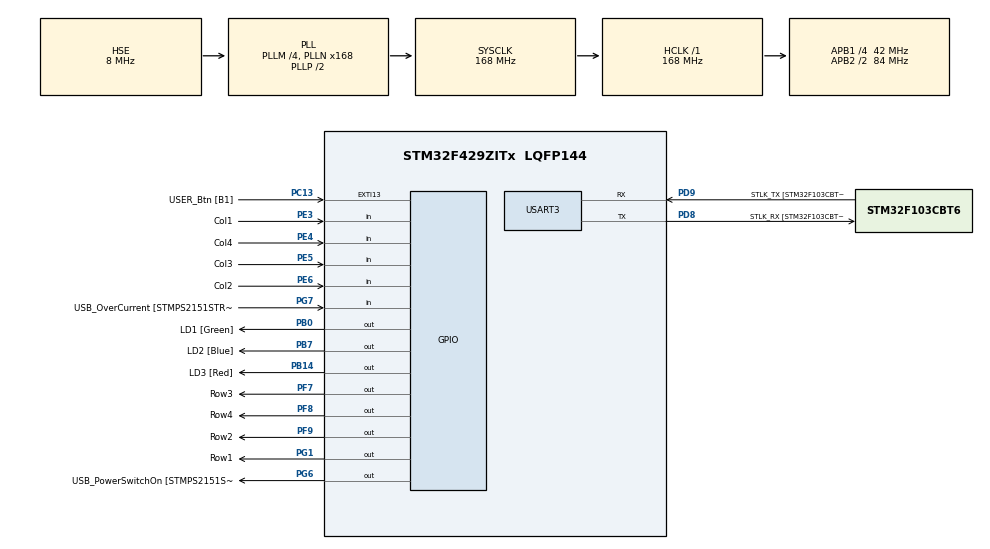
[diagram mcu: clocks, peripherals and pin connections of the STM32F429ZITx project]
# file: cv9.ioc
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Mcu.Family=STM32F4
Mcu.Name=STM32F429ZITx
Mcu.Package=LQFP144
NVIC.PriorityGroup=NVIC_PRIORITYGROUP_4
NVIC.TIM3_IRQn=true\:0\:0\:false\:false\:true\:true\:true\:true
PA1.GPIO_Label=RMII_REF_CLK [LAN8742A-CZ-TR_REFCLK0]
PA1.Signal=ETH_REF_CLK
PA10.GPIO_Label=USB_ID
PA10.Signal=USB_OTG_FS_ID
PA11.GPIO_Label=USB_DM
PA11.Signal=USB_OTG_FS_DM
PA12.GPIO_Label=USB_DP
PA12.Signal=USB_OTG_FS_DP
PA13.GPIO_Label=TMS
PA13.Mode=Serial_Wire
PA13.Signal=SYS_JTMS-SWDIO
PA14.GPIO_Label=TCK
PA14.Mode=Serial_Wire
PA14.Signal=SYS_JTCK-SWCLK
PA2.GPIO_Label=RMII_MDIO [LAN8742A-CZ-TR_MDIO]
PA2.Signal=ETH_MDIO
PA7.GPIO_Label=RMII_CRS_DV [LAN8742A-CZ-TR_CRS_DV]
PA7.Signal=ETH_CRS_DV
PA8.GPIO_Label=USB_SOF [TP1]
PA8.Signal=USB_OTG_FS_SOF
PA9.GPIO_Label=USB_VBUS
PA9.Signal=USB_OTG_FS_VBUS
PB0.GPIO_Label=LD1 [Green]
PB0.Signal=GPIO_Output
PB13.GPIO_Label=RMII_TXD1 [LAN8742A-CZ-TR_TXD1]
PB13.Signal=ETH_TXD1
PB14.GPIO_Label=LD3 [Red]
PB14.Signal=GPIO_Output
PB7.GPIO_Label=LD2 [Blue]
PB7.Signal=GPIO_Output
PC1.GPIO_Label=RMII_MDC [LAN8742A-CZ-TR_MDC]
PC1.Signal=ETH_MDC
PC13.GPIO_Label=USER_Btn [B1]
PC13.Signal=GPXTI13
PC14/OSC32_IN.Mode=LSE-External-Oscillator
PC14/OSC32_IN.Signal=RCC_OSC32_IN
PC15/OSC32_OUT.Mode=LSE-External-Oscillator
PC15/OSC32_OUT.Signal=RCC_OSC32_OUT
PC4.GPIO_Label=RMII_RXD0 [LAN8742A-CZ-TR_RXD0]
PC4.Signal=ETH_RXD0
PC5.GPIO_Label=RMII_RXD1 [LAN8742A-CZ-TR_RXD1]
PC5.Signal=ETH_RXD1
PD8.GPIO_Label=STLK_RX [STM32F103CBT6_PA3]
PD8.Mode=Asynchronous
PD8.Signal=USART3_TX
PD9.GPIO_Label=STLK_TX [STM32F103CBT6_PA2]
PD9.Mode=Asynchronous
PD9.Signal=USART3_RX
PE3.GPIO_Label=Col1
PE3.GPIO_PuPd=GPIO_PULLUP
PE3.Signal=GPIO_Input
PE4.GPIO_Label=Col4
PE4.GPIO_PuPd=GPIO_PULLUP
PE4.Signal=GPIO_Input
PE5.GPIO_Label=Col3
PE5.GPIO_PuPd=GPIO_PULLUP
PE5.Signal=GPIO_Input
PE6.GPIO_Label=Col2
PE6.GPIO_PuPd=GPIO_PULLUP
PE6.Signal=GPIO_Input
PF7.GPIO_Label=Row3
PF7.GPIO_ModeDefaultOutputPP=GPIO_MODE_OUTPUT_OD
PF7.GPIO_PuPd=GPIO_NOPULL
PF7.Signal=GPIO_Output
PF8.GPIO_Label=Row4
PF8.GPIO_ModeDefaultOutputPP=GPIO_MODE_OUTPUT_OD
PF8.GPIO_PuPd=GPIO_NOPULL
PF8.Signal=GPIO_Output
PF9.GPIO_Label=Row2
PF9.GPIO_ModeDefaultOutputPP=GPIO_MODE_OUTPUT_OD
PF9.GPIO_PuPd=GPIO_NOPULL
PF9.Signal=GPIO_Output
PG1.GPIO_Label=Row1
PG1.GPIO_ModeDefaultOutputPP=GPIO_MODE_OUTPUT_OD
PG1.GPIO_PuPd=GPIO_NOPULL
PG1.Signal=GPIO_Output
PG11.GPIO_Label=RMII_TX_EN [LAN8742A-CZ-TR_TXEN]
PG11.Signal=ETH_TX_EN
PG13.GPIO_Label=RMII_TXD0 [LAN8742A-CZ-TR_TXD0]
PG13.Signal=ETH_TXD0
PG6.GPIO_Label=USB_PowerSwitchOn [STMPS2151STR_EN]
PG6.Signal=GPIO_Output
PG7.GPIO_Label=USB_OverCurrent [STMPS2151STR_FAULT]
PG7.Signal=GPIO_Input
PH0/OSC_IN.GPIO_Label=MCO [STM32F103CBT6_PA8]
PH0/OSC_IN.Mode=HSE-External-Clock-Source
PH0/OSC_IN.Signal=RCC_OSC_IN
PH1/OSC_OUT.Mode=HSE-External-Clock-Source
PH1/OSC_OUT.Signal=RCC_OSC_OUT
ProjectManager.HeapSize=0x200
ProjectManager.StackSize=0x400
ProjectManager.TargetToolchain=STM32CubeIDE
RCC.48MHZClocksFreq_Value=48000000
RCC.AHBFreq_Value=168000000
RCC.APB1CLKDivider=RCC_HCLK_DIV4
RCC.APB1Freq_Value=42000000
RCC.APB1TimFreq_Value=84000000
RCC.APB2CLKDivider=RCC_HCLK_DIV2
RCC.APB2Freq_Value=84000000
RCC.APB2TimCLKDivider=2
RCC.APB2TimFreq_Value=168000000
RCC.CortexFreq_Value=168000000
RCC.HCLKFreq_Value=168000000
RCC.HSE_VALUE=8000000
RCC.HSI_VALUE=16000000
RCC.PLLM=4
RCC.PLLMUL=RCC_PLL_MUL9
RCC.PLLN=168
RCC.PLLQ=7
RCC.PLLSourceVirtual=RCC_PLLSOURCE_HSE
RCC.PRESCALERUSB=RCC_USBCLKSOURCE_PLL_DIV1_5
RCC.SYSCLKFreq_VALUE=168000000
RCC.SYSCLKSource=RCC_SYSCLKSOURCE_PLLCLK
RCC.SYSCLKSourceVirtual=RCC_SYSCLKSOURCE_PLLCLK
RCC.USBFreq_Value=48000000
RCC.VCOOutputFreq_Value=336000000
TIM3.AutoReloadPreload=TIM_AUTORELOAD_PRELOAD_ENABLE
TIM3.Period=99
TIM3.Prescaler=8399
USART3.VirtualMode=VM_ASYNC
VP_TIM3_VS_ClockSourceINT.Mode=Internal
board=NUCLEO-F429ZI

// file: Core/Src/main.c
/* USER CODE BEGIN Header */
/**
 ******************************************************************************
 * @file           : main.c
 * @brief          : Main program body
 ******************************************************************************
 * @attention
 *
 * Copyright (c) 2023 STMicroelectronics.
 * All rights reserved.
 *
 * This software is licensed under terms that can be found in the LICENSE file
 * in the root directory of this software component.
 * If no LICENSE file comes with this software, it is provided AS-IS.
 *
 ******************************************************************************
 */
/* USER CODE END Header */
#include "main.h"

/* USER CODE BEGIN Includes */
#include <stdio.h>
/* USER CODE END Includes */

TIM_HandleTypeDef htim3;

UART_HandleTypeDef huart3;

/* USER CODE BEGIN PV */
static volatile int8_t key;
static  int8_t z = 0;
/* USER CODE END PV */

void SystemClock_Config(void);
static void MX_GPIO_Init(void);
static void MX_USART3_UART_Init(void);
static void MX_TIM3_Init(void);

/* Private user code ---------------
 * ------------------------------------------*/
/* USER CODE BEGIN 0 */
int __io_putchar(int ch)
{
	ITM_SendChar(ch);
	return 0;
}
/* USER CODE END 0 */

int main(void)
{

	/* MCU Configuration--------------------------------------------------------*/

	/* Reset of all peripherals, Initializes the Flash interface and the Systick. */
	HAL_Init();

	/* Configure the system clock */
	SystemClock_Config();

	/* Initialize all configured peripherals */
	MX_GPIO_Init();
	MX_USART3_UART_Init();
	MX_TIM3_Init();
	/* USER CODE BEGIN 2 */

	HAL_TIM_Base_Start_IT(&htim3);
	/* USER CODE END 2 */

	/* Infinite loop */
	/* USER CODE BEGIN WHILE */
	while (1)
	{

		static const uint8_t code[] = {7,9,3,2,12};
		if(key != -1){
			if(key == code[z]){
				printf("%d\nTrue:", z);
				HAL_Delay(100);
				z = z+1;
			} else {
				z=0;
			}
			HAL_Delay(500);
			key = -1;

		}
		if(z > 4){
			HAL_GPIO_TogglePin(LD1_GPIO_Port, LD1_Pin);
			z = 0;
		}

	}

}

/*if(key != -1){
 *
		  printf("%d\nStisknuto:", key);
		  HAL_Delay(500);
		  key = -1;
	  }*/

/* USER CODE END WHILE */

void SystemClock_Config(void)
{
	RCC_OscInitTypeDef RCC_OscInitStruct = {0};
	RCC_ClkInitTypeDef RCC_ClkInitStruct = {0};

	/** Configure the main internal regulator output voltage
	 */
	__HAL_RCC_PWR_CLK_ENABLE();
	__HAL_PWR_VOLTAGESCALING_CONFIG(PWR_REGULATOR_VOLTAGE_SCALE1);

	/** Initializes the RCC Oscillators according to the specified parameters
	 * in the RCC_OscInitTypeDef structure.
	 */
	RCC_OscInitStruct.OscillatorType = RCC_OSCILLATORTYPE_HSE;
	RCC_OscInitStruct.HSEState = RCC_HSE_BYPASS;
	RCC_OscInitStruct.PLL.PLLState = RCC_PLL_ON;
	RCC_OscInitStruct.PLL.PLLSource = RCC_PLLSOURCE_HSE;
	RCC_OscInitStruct.PLL.PLLM = 4;
	RCC_OscInitStruct.PLL.PLLN = 168;
	RCC_OscInitStruct.PLL.PLLP = RCC_PLLP_DIV2;
	RCC_OscInitStruct.PLL.PLLQ = 7;
	if (HAL_RCC_OscConfig(&RCC_OscInitStruct) != HAL_OK)
	{
		Error_Handler();
	}

	/** Initializes the CPU, AHB and APB buses clocks
	 */
	RCC_ClkInitStruct.ClockType = RCC_CLOCKTYPE_HCLK|RCC_CLOCKTYPE_SYSCLK
			|RCC_CLOCKTYPE_PCLK1|RCC_CLOCKTYPE_PCLK2;
	RCC_ClkInitStruct.SYSCLKSource = RCC_SYSCLKSOURCE_PLLCLK;
	RCC_ClkInitStruct.AHBCLKDivider = RCC_SYSCLK_DIV1;
	RCC_ClkInitStruct.APB1CLKDivider = RCC_HCLK_DIV4;
	RCC_ClkInitStruct.APB2CLKDivider = RCC_HCLK_DIV2;

	if (HAL_RCC_ClockConfig(&RCC_ClkInitStruct, FLASH_LATENCY_5) != HAL_OK)
	{
		Error_Handler();
	}
}

static void MX_TIM3_Init(void)
{

	TIM_ClockConfigTypeDef sClockSourceConfig = {0};
	TIM_MasterConfigTypeDef sMasterConfig = {0};

	htim3.Instance = TIM3;
	htim3.Init.Prescaler = 8399;
	htim3.Init.CounterMode = TIM_COUNTERMODE_UP;
	htim3.Init.Period = 99;
	htim3.Init.ClockDivision = TIM_CLOCKDIVISION_DIV1;
	htim3.Init.AutoReloadPreload = TIM_AUTORELOAD_PRELOAD_ENABLE;
	if (HAL_TIM_Base_Init(&htim3) != HAL_OK)
	{
		Error_Handler();
	}
	sClockSourceConfig.ClockSource = TIM_CLOCKSOURCE_INTERNAL;
	if (HAL_TIM_ConfigClockSource(&htim3, &sClockSourceConfig) != HAL_OK)
	{
		Error_Handler();
	}
	sMasterConfig.MasterOutputTrigger = TIM_TRGO_RESET;
	sMasterConfig.MasterSlaveMode = TIM_MASTERSLAVEMODE_DISABLE;
	if (HAL_TIMEx_MasterConfigSynchronization(&htim3, &sMasterConfig) != HAL_OK)
	{
		Error_Handler();
	}

}

static void MX_USART3_UART_Init(void)
{

	huart3.Instance = USART3;
	huart3.Init.BaudRate = 115200;
	huart3.Init.WordLength = UART_WORDLENGTH_8B;
	huart3.Init.StopBits = UART_STOPBITS_1;
	huart3.Init.Parity = UART_PARITY_NONE;
	huart3.Init.Mode = UART_MODE_TX_RX;
	huart3.Init.HwFlowCtl = UART_HWCONTROL_NONE;
	huart3.Init.OverSampling = UART_OVERSAMPLING_16;
	if (HAL_UART_Init(&huart3) != HAL_OK)
	{
		Error_Handler();
	}

}

static void MX_GPIO_Init(void)
{
	GPIO_InitTypeDef GPIO_InitStruct = {0};

	/* GPIO Ports Clock Enable */
	__HAL_RCC_GPIOE_CLK_ENABLE();
	__HAL_RCC_GPIOC_CLK_ENABLE();
	__HAL_RCC_GPIOF_CLK_ENABLE();
	__HAL_RCC_GPIOH_CLK_ENABLE();
	__HAL_RCC_GPIOA_CLK_ENABLE();
	__HAL_RCC_GPIOB_CLK_ENABLE();
	__HAL_RCC_GPIOG_CLK_ENABLE();
	__HAL_RCC_GPIOD_CLK_ENABLE();

	/*Configure GPIO pin Output Level */
	HAL_GPIO_WritePin(GPIOF, Row3_Pin|Row4_Pin|Row2_Pin, GPIO_PIN_RESET);

	/*Configure GPIO pin Output Level */
	HAL_GPIO_WritePin(GPIOB, LD1_Pin|LD3_Pin|LD2_Pin, GPIO_PIN_RESET);

	/*Configure GPIO pin Output Level */
	HAL_GPIO_WritePin(GPIOG, Row1_Pin|USB_PowerSwitchOn_Pin, GPIO_PIN_RESET);

	/*Configure GPIO pins : Col1_Pin Col4_Pin Col3_Pin Col2_Pin */
	GPIO_InitStruct.Pin = Col1_Pin|Col4_Pin|Col3_Pin|Col2_Pin;
	GPIO_InitStruct.Mode = GPIO_MODE_INPUT;
	GPIO_InitStruct.Pull = GPIO_PULLUP;
	HAL_GPIO_Init(GPIOE, &GPIO_InitStruct);

	/*Configure GPIO pin : USER_Btn_Pin */
	GPIO_InitStruct.Pin = USER_Btn_Pin;
	GPIO_InitStruct.Mode = GPIO_MODE_IT_RISING;
	GPIO_InitStruct.Pull = GPIO_NOPULL;
	HAL_GPIO_Init(USER_Btn_GPIO_Port, &GPIO_InitStruct);

	/*Configure GPIO pins : Row3_Pin Row4_Pin Row2_Pin */
	GPIO_InitStruct.Pin = Row3_Pin|Row4_Pin|Row2_Pin;
	GPIO_InitStruct.Mode = GPIO_MODE_OUTPUT_OD;
	GPIO_InitStruct.Pull = GPIO_NOPULL;
	GPIO_InitStruct.Speed = GPIO_SPEED_FREQ_LOW;
	HAL_GPIO_Init(GPIOF, &GPIO_InitStruct);

	/*Configure GPIO pins : RMII_MDC_Pin RMII_RXD0_Pin RMII_RXD1_Pin */
	GPIO_InitStruct.Pin = RMII_MDC_Pin|RMII_RXD0_Pin|RMII_RXD1_Pin;
	GPIO_InitStruct.Mode = GPIO_MODE_AF_PP;
	GPIO_InitStruct.Pull = GPIO_NOPULL;
	GPIO_InitStruct.Speed = GPIO_SPEED_FREQ_VERY_HIGH;
	GPIO_InitStruct.Alternate = GPIO_AF11_ETH;
	HAL_GPIO_Init(GPIOC, &GPIO_InitStruct);

	/*Configure GPIO pins : RMII_REF_CLK_Pin RMII_MDIO_Pin RMII_CRS_DV_Pin */
	GPIO_InitStruct.Pin = RMII_REF_CLK_Pin|RMII_MDIO_Pin|RMII_CRS_DV_Pin;
	GPIO_InitStruct.Mode = GPIO_MODE_AF_PP;
	GPIO_InitStruct.Pull = GPIO_NOPULL;
	GPIO_InitStruct.Speed = GPIO_SPEED_FREQ_VERY_HIGH;
	GPIO_InitStruct.Alternate = GPIO_AF11_ETH;
	HAL_GPIO_Init(GPIOA, &GPIO_InitStruct);

	/*Configure GPIO pins : LD1_Pin LD3_Pin LD2_Pin */
	GPIO_InitStruct.Pin = LD1_Pin|LD3_Pin|LD2_Pin;
	GPIO_InitStruct.Mode = GPIO_MODE_OUTPUT_PP;
	GPIO_InitStruct.Pull = GPIO_NOPULL;
	GPIO_InitStruct.Speed = GPIO_SPEED_FREQ_LOW;
	HAL_GPIO_Init(GPIOB, &GPIO_InitStruct);

	/*Configure GPIO pin : Row1_Pin */
	GPIO_InitStruct.Pin = Row1_Pin;
	GPIO_InitStruct.Mode = GPIO_MODE_OUTPUT_OD;
	GPIO_InitStruct.Pull = GPIO_NOPULL;
	GPIO_InitStruct.Speed = GPIO_SPEED_FREQ_LOW;
	HAL_GPIO_Init(Row1_GPIO_Port, &GPIO_InitStruct);

	/*Configure GPIO pin : RMII_TXD1_Pin */
	GPIO_InitStruct.Pin = RMII_TXD1_Pin;
	GPIO_InitStruct.Mode = GPIO_MODE_AF_PP;
	GPIO_InitStruct.Pull = GPIO_NOPULL;
	GPIO_InitStruct.Speed = GPIO_SPEED_FREQ_VERY_HIGH;
	GPIO_InitStruct.Alternate = GPIO_AF11_ETH;
	HAL_GPIO_Init(RMII_TXD1_GPIO_Port, &GPIO_InitStruct);

	/*Configure GPIO pin : USB_PowerSwitchOn_Pin */
	GPIO_InitStruct.Pin = USB_PowerSwitchOn_Pin;
	GPIO_InitStruct.Mode = GPIO_MODE_OUTPUT_PP;
	GPIO_InitStruct.Pull = GPIO_NOPULL;
	GPIO_InitStruct.Speed = GPIO_SPEED_FREQ_LOW;
	HAL_GPIO_Init(USB_PowerSwitchOn_GPIO_Port, &GPIO_InitStruct);

	/*Configure GPIO pin : USB_OverCurrent_Pin */
	GPIO_InitStruct.Pin = USB_OverCurrent_Pin;
	GPIO_InitStruct.Mode = GPIO_MODE_INPUT;
	GPIO_InitStruct.Pull = GPIO_NOPULL;
	HAL_GPIO_Init(USB_OverCurrent_GPIO_Port, &GPIO_InitStruct);

	/*Configure GPIO pins : USB_SOF_Pin USB_ID_Pin USB_DM_Pin USB_DP_Pin */
	GPIO_InitStruct.Pin = USB_SOF_Pin|USB_ID_Pin|USB_DM_Pin|USB_DP_Pin;
	GPIO_InitStruct.Mode = GPIO_MODE_AF_PP;
	GPIO_InitStruct.Pull = GPIO_NOPULL;
	GPIO_InitStruct.Speed = GPIO_SPEED_FREQ_VERY_HIGH;
	GPIO_InitStruct.Alternate = GPIO_AF10_OTG_FS;
	HAL_GPIO_Init(GPIOA, &GPIO_InitStruct);

	/*Configure GPIO pin : USB_VBUS_Pin */
	GPIO_InitStruct.Pin = USB_VBUS_Pin;
	GPIO_InitStruct.Mode = GPIO_MODE_INPUT;
	GPIO_InitStruct.Pull = GPIO_NOPULL;
	HAL_GPIO_Init(USB_VBUS_GPIO_Port, &GPIO_InitStruct);

	/*Configure GPIO pins : RMII_TX_EN_Pin RMII_TXD0_Pin */
	GPIO_InitStruct.Pin = RMII_TX_EN_Pin|RMII_TXD0_Pin;
	GPIO_InitStruct.Mode = GPIO_MODE_AF_PP;
	GPIO_InitStruct.Pull = GPIO_NOPULL;
	GPIO_InitStruct.Speed = GPIO_SPEED_FREQ_VERY_HIGH;
	GPIO_InitStruct.Alternate = GPIO_AF11_ETH;
	HAL_GPIO_Init(GPIOG, &GPIO_InitStruct);

}

/* USER CODE BEGIN 4 */
void HAL_TIM_PeriodElapsedCallback(TIM_HandleTypeDef *htim)
{
	static int row = 0;

	static const int keyboard[4][4] = {
			{ 1, 2, 3, 21 },
			{ 4, 5, 6, 22 },
			{ 7, 8, 9, 23 },
			{ 11, 0, 12, 24 },
	};
	if (key == -1) {
		if (HAL_GPIO_ReadPin(Col1_GPIO_Port, Col1_Pin) == GPIO_PIN_RESET) key = keyboard[row][0];
		if (HAL_GPIO_ReadPin(Col2_GPIO_Port, Col2_Pin) == GPIO_PIN_RESET) key = keyboard[row][1];
		if (HAL_GPIO_ReadPin(Col1_GPIO_Port, Col3_Pin) == GPIO_PIN_RESET) key = keyboard[row][2];
		if (HAL_GPIO_ReadPin(Col2_GPIO_Port, Col4_Pin) == GPIO_PIN_RESET) key = keyboard[row][3];

	}
	HAL_GPIO_WritePin(Row1_GPIO_Port, Row1_Pin, GPIO_PIN_SET);
	HAL_GPIO_WritePin(Row2_GPIO_Port, Row2_Pin, GPIO_PIN_SET);
	HAL_GPIO_WritePin(Row3_GPIO_Port, Row3_Pin, GPIO_PIN_SET);
	HAL_GPIO_WritePin(Row4_GPIO_Port, Row4_Pin, GPIO_PIN_SET);
	switch (row) {
	case 0: row = 1; HAL_GPIO_WritePin(Row2_GPIO_Port, Row2_Pin, GPIO_PIN_RESET); break;
	case 1: row = 2; HAL_GPIO_WritePin(Row3_GPIO_Port, Row3_Pin, GPIO_PIN_RESET); break;
	case 2: row = 3; HAL_GPIO_WritePin(Row4_GPIO_Port, Row4_Pin, GPIO_PIN_RESET); break;
	case 3: row = 0; HAL_GPIO_WritePin(Row1_GPIO_Port, Row1_Pin, GPIO_PIN_RESET); break;

	}
}
/* USER CODE END 4 */

void Error_Handler(void)
{
	__disable_irq();
	while (1)
	{
	}
}
